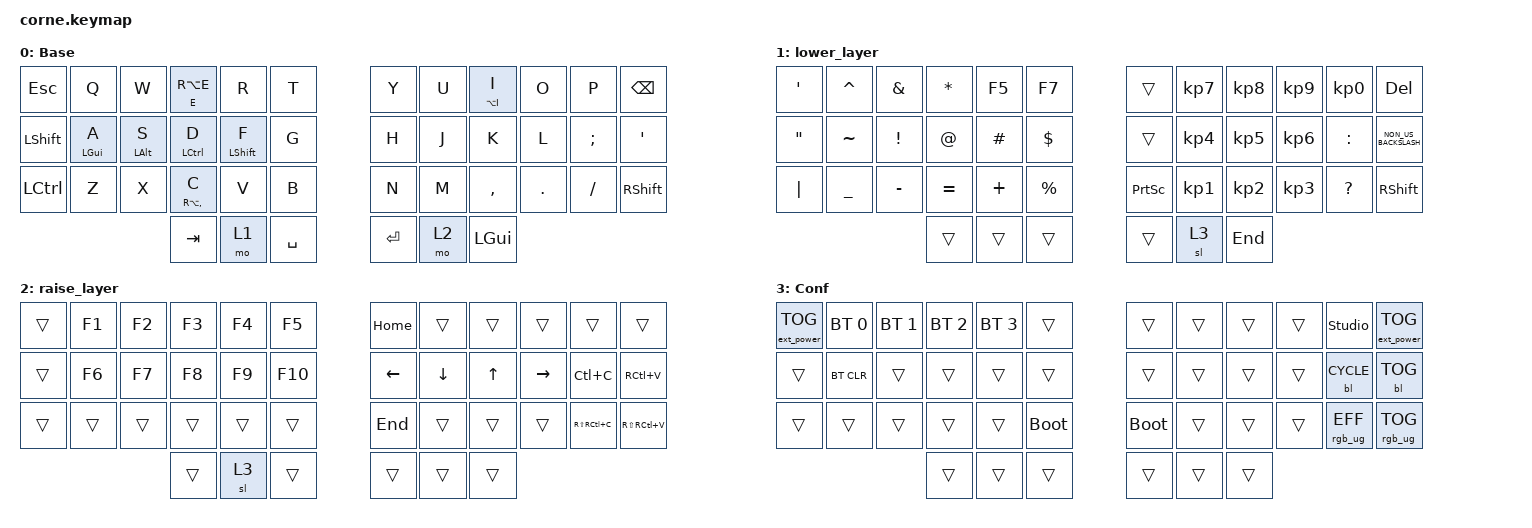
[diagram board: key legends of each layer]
/*
 * Copyright (c) 2020 The ZMK Contributors
 *
 * SPDX-License-Identifier: MIT
 */

#include <behaviors.dtsi>
#include <dt-bindings/zmk/backlight.h>
#include <dt-bindings/zmk/bt.h>
#include <dt-bindings/zmk/ext_power.h>
#include <dt-bindings/zmk/keys.h>
#include <dt-bindings/zmk/rgb.h>

&mt { flavor = "tap-preferred"; };

/ {
    behaviors {
        hm: homerow_mods {
            compatible = "zmk,behavior-hold-tap";
            label = "HOMEROW_MODS";
            #binding-cells = <2>;
            tapping-term-ms = <200>;
            quick_tap_ms = <0>;
            flavor = "tap-preferred";
            bindings = <&kp>, <&kp>;

            quick-tap-ms = <180>;
            global-quick-tap;
        };

        ltq: ltq {
            compatible = "zmk,behavior-hold-tap";
            label = "LTQ";
            bindings = <&mo>, <&kp>;

            #binding-cells = <2>;
            tapping-term-ms = <500>;
            global-quick-tap;
            quick-tap-ms = <300>;
        };
    };

    combos {
        compatible = "zmk,combos";

        left_bkt {
            bindings = <&kp LEFT_BRACKET>;
            key-positions = <4 3>;
            timeout-ms = <50>;
        };

        right_bkt {
            bindings = <&kp RBKT>;
            key-positions = <7 8>;
            timeout-ms = <50>;
        };

        left_par {
            bindings = <&kp LEFT_PARENTHESIS>;
            key-positions = <15 16>;
            timeout-ms = <50>;
        };

        right_par {
            bindings = <&kp RIGHT_PARENTHESIS>;
            key-positions = <19 20>;
            timeout-ms = <50>;
        };

        left_brace {
            bindings = <&kp LEFT_BRACE>;
            key-positions = <27 28>;
            timeout-ms = <50>;
        };

        right_brace {
            bindings = <&kp RIGHT_BRACE>;
            key-positions = <32 31>;
            timeout-ms = <50>;
        };

        bac {
            bindings = <&kp BACKSLASH>;
            key-positions = <5 6>;
        };

        pipe {
            bindings = <&kp PIPE>;
            key-positions = <17 18>;
        };
    };

    macros {
        LowerAndHelp: LowerAndHelp {
            compatible = "zmk,behavior-macro";
            #binding-cells = <0>;
            bindings = <&macro_tap>, <&kp K_HELP>, <&macro_press>, <&mo 1>;

            label = "LOWERANDHELP";
        };

        RaiseAndHelp: RaiseAndHelp {
            compatible = "zmk,behavior-macro";
            #binding-cells = <0>;
            bindings = <&macro_tap>, <&kp K_HELP>, <&macro_press>, <&mo 2>;

            label = "RAISEANDHELP";
        };
    };

    keymap {
        compatible = "zmk,keymap";

        Base {
            bindings = <
&kp ESCAPE      &kp Q           &kp W           &mt E RA(E)      &kp R             &kp T      &kp Y      &kp U  &mt LA(I) I   &kp O    &kp P          &kp BSPC
&kp LEFT_SHIFT  &hm LEFT_GUI A  &hm LEFT_ALT S  &hm LCTRL D      &hm LEFT_SHIFT F  &kp G      &kp H      &kp J  &kp K         &kp L    &kp SEMICOLON  &kp APOSTROPHE
&kp LCTRL       &kp Z           &kp X           &mt RA(COMMA) C  &kp V             &kp B      &kp N      &kp M  &kp COMMA     &kp DOT  &kp FSLH       &kp RIGHT_SHIFT
                                                &kp TAB          &mo 1             &kp SPACE  &kp ENTER  &mo 2  &kp LEFT_GUI
            >;
        };

        lower_layer {
            bindings = <
&kp SQT            &kp CARET  &kp AMPERSAND    &kp ASTERISK  &kp F5    &kp F7       &trans           &kp KP_NUMBER_7  &kp KP_N8        &kp KP_NUMBER_9  &kp KP_N0     &kp DEL
&kp DOUBLE_QUOTES  &kp TILDE  &kp EXCLAMATION  &kp AT_SIGN   &kp HASH  &kp DOLLAR   &trans           &kp KP_NUMBER_4  &kp KP_NUMBER_5  &kp KP_NUMBER_6  &kp COLON     &kp NON_US_BACKSLASH
&kp PIPE           &kp UNDER  &kp MINUS        &kp EQUAL     &kp PLUS  &kp PERCENT  &kp PRINTSCREEN  &kp KP_N1        &kp KP_NUMBER_2  &kp KP_NUMBER_3  &kp QUESTION  &kp RIGHT_SHIFT
                                               &trans        &trans    &trans       &trans           &sl 3            &kp END
            >;
        };

        raise_layer {
            bindings = <
&trans  &kp F1  &kp F2  &kp F3  &kp F4  &kp F5   &kp HOME        &trans    &trans        &trans     &trans         &trans
&trans  &kp F6  &kp F7  &kp F8  &kp F9  &kp F10  &kp LEFT_ARROW  &kp DOWN  &kp UP_ARROW  &kp RIGHT  &kp LC(C)      &kp RC(V)
&trans  &trans  &trans  &trans  &trans  &trans   &kp END         &trans    &trans        &trans     &kp RS(RC(C))  &kp RS(RC(V))
                        &trans  &sl 3   &trans   &trans          &trans    &trans
            >;
        };

        Conf {
            bindings = <
&ext_power EP_TOG  &bt BT_SEL 0  &bt BT_SEL 1  &bt BT_SEL 2  &bt BT_SEL 3  &trans       &trans       &trans  &trans  &trans  &studio_unlock   &ext_power EP_TOG
&trans             &bt BT_CLR    &trans        &trans        &trans        &trans       &trans       &trans  &trans  &trans  &bl BL_CYCLE     &bl BL_TOG
&trans             &trans        &trans        &trans        &trans        &bootloader  &bootloader  &trans  &trans  &trans  &rgb_ug RGB_EFF  &rgb_ug RGB_TOG
                                               &trans        &trans        &trans       &trans       &trans  &trans
            >;
        };

        extra1 { status = "reserved"; };

        extra2 { status = "reserved"; };

        extra3 { status = "reserved"; };

        extra4 { status = "reserved"; };
    };
};
